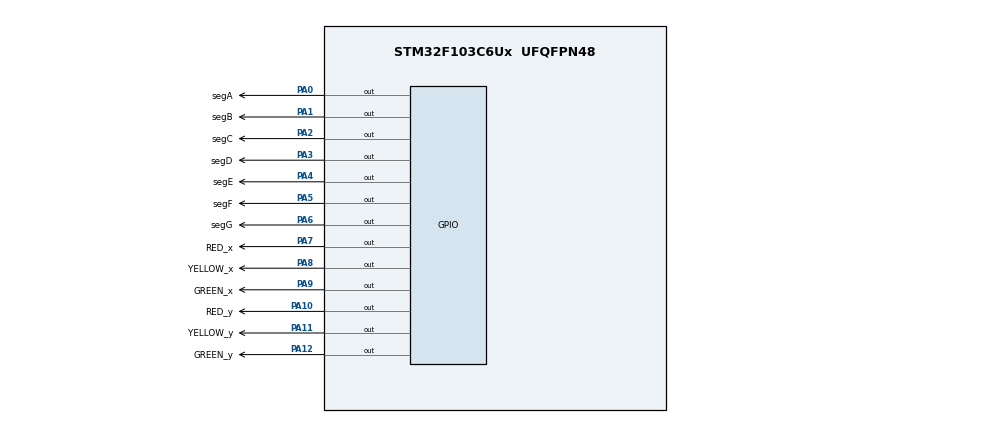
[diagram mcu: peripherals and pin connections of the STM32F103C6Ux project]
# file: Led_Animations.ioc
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Mcu.Family=STM32F1
Mcu.Name=STM32F103C6Ux
Mcu.Package=UFQFPN48
NVIC.PriorityGroup=NVIC_PRIORITYGROUP_4
PA0-WKUP.GPIO_Label=segA
PA0-WKUP.Signal=GPIO_Output
PA1.GPIO_Label=segB
PA1.Signal=GPIO_Output
PA10.GPIO_Label=RED_y
PA10.Signal=GPIO_Output
PA11.GPIO_Label=YELLOW_y
PA11.Signal=GPIO_Output
PA12.GPIO_Label=GREEN_y
PA12.Signal=GPIO_Output
PA2.GPIO_Label=segC
PA2.Signal=GPIO_Output
PA3.GPIO_Label=segD
PA3.Signal=GPIO_Output
PA4.GPIO_Label=segE
PA4.Signal=GPIO_Output
PA5.GPIO_Label=segF
PA5.Signal=GPIO_Output
PA6.GPIO_Label=segG
PA6.Signal=GPIO_Output
PA7.GPIO_Label=RED_x
PA7.Signal=GPIO_Output
PA8.GPIO_Label=YELLOW_x
PA8.Signal=GPIO_Output
PA9.GPIO_Label=GREEN_x
PA9.Signal=GPIO_Output
ProjectManager.HeapSize=0x200
ProjectManager.StackSize=0x400
ProjectManager.TargetToolchain=STM32CubeIDE
RCC.APB1Freq_Value=8000000
RCC.APB2Freq_Value=8000000
VP_SYS_VS_ND.Mode=No_Debug
board=custom

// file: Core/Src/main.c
/* USER CODE BEGIN Header */
/**
  ******************************************************************************
  * @file           : main.c
  * @brief          : Main program body
  ******************************************************************************
  * @attention
  *
  * Copyright (c) 2025 STMicroelectronics.
  * All rights reserved.
  *
  * This software is licensed under terms that can be found in the LICENSE file
  * in the root directory of this software component.
  * If no LICENSE file comes with this software, it is provided AS-IS.
  *
  ******************************************************************************
  */
/* Uncomment out line that need for testing */
//#define ex1 1
//#define ex2 1
//#define ex3 1
//#define ex4 1
#define ex5 1

/* USER CODE END Header */
#include "main.h"

/* USER CODE BEGIN Includes */
#include "traffic_light.h"
#include "led7seg.h"
/* USER CODE END Includes */

void SystemClock_Config(void);
static void MX_GPIO_Init(void);

int main(void)
{

  /* MCU Configuration--------------------------------------------------------*/

  /* Reset of all peripherals, Initializes the Flash interface and the Systick. */
  HAL_Init();

  /* Configure the system clock */
  SystemClock_Config();

  /* USER CODE BEGIN SysInit */
  Light_Init();
  Led7seg_Init();
  /* USER CODE END SysInit */

  /* Initialize all configured peripherals */
  MX_GPIO_Init();

  /* Infinite loop */
  /* USER CODE BEGIN WHILE */
  uint8_t counter = 0;
  uint8_t mask = 0;
  while (1)
  {
#ifdef ex1 //---Exercise 1 execution---//
	  HAL_GPIO_WritePin(YELLOW_x_GPIO_Port, YELLOW_x_Pin, counter >> 1);
	  HAL_GPIO_WritePin(RED_x_GPIO_Port, RED_x_Pin, !(counter >> 1));

	  counter = (counter + 1) % 4;

#elif ex2 //---Exercise 2 execution---//
	  mask = 0;
	  if (counter < 5)
		  mask = xRED;
	  else if (counter < 8)
		  mask = xGREEN;
	  else
		  mask = xYELLOW;

	  Light_Control(mask);

	  counter = (counter + 1) % 10;

#elif ex3 //---Exercise 3 execution---//
	  mask = 0;
	  if (counter < 3)
		  mask = xRED | yGREEN;
	  else if (counter < 5)
		  mask = xRED | yYELLOW;
	  else if (counter < 8)
		  mask = yRED | xGREEN;
	  else
		  mask = yRED | xYELLOW;

	  Light_Control(mask);

	  counter = (counter + 1) % 10;

#elif ex4 //---Exercise 4 execution---//
	  if (counter >= 10) counter = 0;
	  display7SEG(counter++);

#elif ex5 //---Exercise 5 execution---//
	  if (counter < 3)
		  mask = xRED | yGREEN;
	  else if (counter < 5)
		  mask = xRED | yYELLOW;
	  else if (counter < 8)
		  mask = yRED | xGREEN;
	  else
		  mask = yRED | xYELLOW;

	  Light_Control(mask);
	  display7SEG((mask & xRED) ? 5 - counter :
			  	  (mask & xGREEN) ? 8 - counter : 10 - counter);

	  counter = (counter + 1) % 10;

#endif
	  HAL_Delay(1000);
    /* USER CODE END WHILE */

  }
}

void SystemClock_Config(void)
{
  RCC_OscInitTypeDef RCC_OscInitStruct = {0};
  RCC_ClkInitTypeDef RCC_ClkInitStruct = {0};

  /** Initializes the RCC Oscillators according to the specified parameters
  * in the RCC_OscInitTypeDef structure.
  */
  RCC_OscInitStruct.OscillatorType = RCC_OSCILLATORTYPE_HSI;
  RCC_OscInitStruct.HSIState = RCC_HSI_ON;
  RCC_OscInitStruct.HSICalibrationValue = RCC_HSICALIBRATION_DEFAULT;
  RCC_OscInitStruct.PLL.PLLState = RCC_PLL_NONE;
  if (HAL_RCC_OscConfig(&RCC_OscInitStruct) != HAL_OK)
  {
    Error_Handler();
  }

  /** Initializes the CPU, AHB and APB buses clocks
  */
  RCC_ClkInitStruct.ClockType = RCC_CLOCKTYPE_HCLK|RCC_CLOCKTYPE_SYSCLK
                              |RCC_CLOCKTYPE_PCLK1|RCC_CLOCKTYPE_PCLK2;
  RCC_ClkInitStruct.SYSCLKSource = RCC_SYSCLKSOURCE_HSI;
  RCC_ClkInitStruct.AHBCLKDivider = RCC_SYSCLK_DIV1;
  RCC_ClkInitStruct.APB1CLKDivider = RCC_HCLK_DIV1;
  RCC_ClkInitStruct.APB2CLKDivider = RCC_HCLK_DIV1;

  if (HAL_RCC_ClockConfig(&RCC_ClkInitStruct, FLASH_LATENCY_0) != HAL_OK)
  {
    Error_Handler();
  }
}

static void MX_GPIO_Init(void)
{
  GPIO_InitTypeDef GPIO_InitStruct = {0};

  /* GPIO Ports Clock Enable */
  __HAL_RCC_GPIOA_CLK_ENABLE();

  /*Configure GPIO pin Output Level */
  HAL_GPIO_WritePin(GPIOA, segA_Pin|segB_Pin|segC_Pin|segD_Pin
                          |segE_Pin|segF_Pin|segG_Pin|RED_x_Pin
                          |YELLOW_x_Pin|GREEN_x_Pin|RED_y_Pin|YELLOW_y_Pin
                          |GREEN_y_Pin, GPIO_PIN_RESET);

  /*Configure GPIO pins : segA_Pin segB_Pin segC_Pin segD_Pin
                           segE_Pin segF_Pin segG_Pin RED_x_Pin
                           YELLOW_x_Pin GREEN_x_Pin RED_y_Pin YELLOW_y_Pin
                           GREEN_y_Pin */
  GPIO_InitStruct.Pin = segA_Pin|segB_Pin|segC_Pin|segD_Pin
                          |segE_Pin|segF_Pin|segG_Pin|RED_x_Pin
                          |YELLOW_x_Pin|GREEN_x_Pin|RED_y_Pin|YELLOW_y_Pin
                          |GREEN_y_Pin;
  GPIO_InitStruct.Mode = GPIO_MODE_OUTPUT_PP;
  GPIO_InitStruct.Pull = GPIO_NOPULL;
  GPIO_InitStruct.Speed = GPIO_SPEED_FREQ_LOW;
  HAL_GPIO_Init(GPIOA, &GPIO_InitStruct);

}

void Error_Handler(void)
{
  __disable_irq();
  while (1)
  {
  }
}
